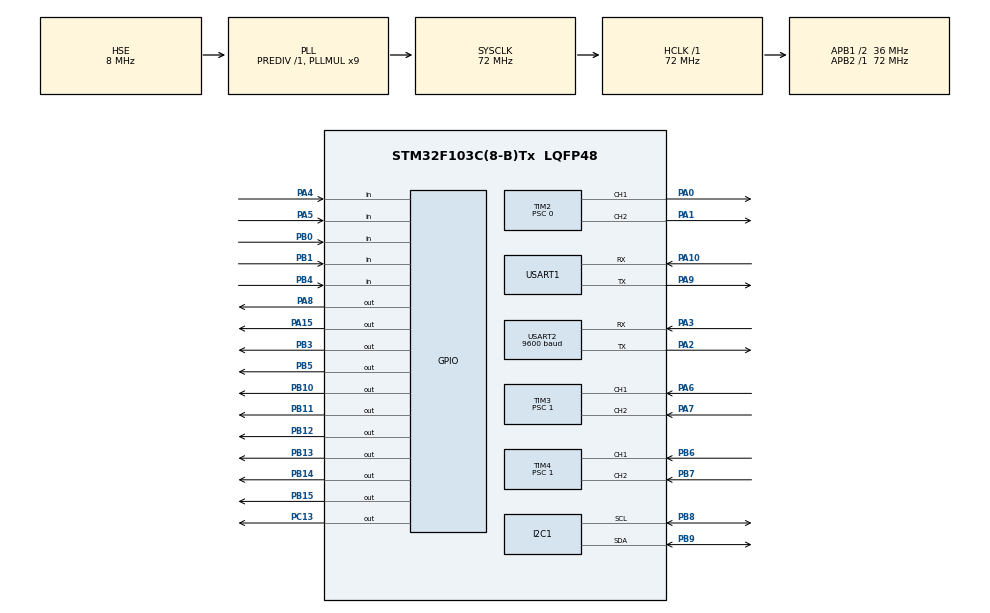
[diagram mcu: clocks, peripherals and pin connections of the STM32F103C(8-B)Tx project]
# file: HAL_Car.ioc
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Dma.Request0=USART1_TX
Dma.USART1_TX.0.Direction=DMA_MEMORY_TO_PERIPH
Dma.USART1_TX.0.Instance=DMA1_Channel4
Dma.USART1_TX.0.MemDataAlignment=DMA_MDATAALIGN_BYTE
Dma.USART1_TX.0.MemInc=DMA_MINC_ENABLE
Dma.USART1_TX.0.Mode=DMA_CIRCULAR
Dma.USART1_TX.0.PeriphDataAlignment=DMA_PDATAALIGN_BYTE
Dma.USART1_TX.0.PeriphInc=DMA_PINC_DISABLE
Dma.USART1_TX.0.Priority=DMA_PRIORITY_HIGH
Mcu.Family=STM32F1
Mcu.Name=STM32F103C(8-B)Tx
Mcu.Package=LQFP48
NVIC.DMA1_Channel4_IRQn=true\:1\:0\:true\:false\:true\:false\:true\:true
NVIC.PriorityGroup=NVIC_PRIORITYGROUP_2
NVIC.TIM1_UP_IRQn=true\:0\:0\:true\:false\:true\:true\:true\:true
NVIC.USART1_IRQn=true\:1\:0\:true\:false\:true\:false\:true\:true
NVIC.USART2_IRQn=true\:1\:0\:true\:false\:true\:true\:true\:true
PA0-WKUP.Signal=S_TIM2_CH1_ETR
PA1.Signal=S_TIM2_CH2
PA10.GPIO_PuPd=GPIO_PULLUP
PA10.Mode=Asynchronous
PA10.Signal=USART1_RX
PA13.Mode=Serial_Wire
PA13.Signal=SYS_JTMS-SWDIO
PA14.Mode=Serial_Wire
PA14.Signal=SYS_JTCK-SWCLK
PA15.GPIO_Speed=GPIO_SPEED_FREQ_HIGH
PA15.PinState=GPIO_PIN_SET
PA15.Signal=GPIO_Output
PA2.Mode=Asynchronous
PA2.Signal=USART2_TX
PA3.GPIO_PuPd=GPIO_PULLUP
PA3.Mode=Asynchronous
PA3.Signal=USART2_RX
PA4.GPIO_PuPd=GPIO_PULLUP
PA4.Signal=GPIO_Input
PA5.GPIO_PuPd=GPIO_PULLUP
PA5.Signal=GPIO_Input
PA6.GPIO_PuPd=GPIO_PULLUP
PA6.Signal=S_TIM3_CH1
PA7.GPIO_PuPd=GPIO_PULLUP
PA7.Signal=S_TIM3_CH2
PA8.GPIO_Speed=GPIO_SPEED_FREQ_HIGH
PA8.Signal=GPIO_Output
PA9.Mode=Asynchronous
PA9.Signal=USART1_TX
PB0.GPIO_PuPd=GPIO_PULLUP
PB0.Signal=GPIO_Input
PB1.GPIO_PuPd=GPIO_PULLUP
PB1.Signal=GPIO_Input
PB10.GPIO_ModeDefaultOutputPP=GPIO_MODE_OUTPUT_OD
PB10.GPIO_PuPd=GPIO_PULLUP
PB10.GPIO_Speed=GPIO_SPEED_FREQ_HIGH
PB10.PinState=GPIO_PIN_SET
PB10.Signal=GPIO_Output
PB11.GPIO_ModeDefaultOutputPP=GPIO_MODE_OUTPUT_OD
PB11.GPIO_PuPd=GPIO_PULLUP
PB11.GPIO_Speed=GPIO_SPEED_FREQ_HIGH
PB11.PinState=GPIO_PIN_SET
PB11.Signal=GPIO_Output
PB12.Signal=GPIO_Output
PB13.Signal=GPIO_Output
PB14.Signal=GPIO_Output
PB15.Signal=GPIO_Output
PB3.GPIO_Speed=GPIO_SPEED_FREQ_HIGH
PB3.Signal=GPIO_Output
PB4.GPIO_PuPd=GPIO_PULLUP
PB4.Signal=GPIO_Input
PB5.GPIO_Speed=GPIO_SPEED_FREQ_HIGH
PB5.Signal=GPIO_Output
PB6.GPIO_PuPd=GPIO_PULLUP
PB6.Signal=S_TIM4_CH1
PB7.GPIO_PuPd=GPIO_PULLUP
PB7.Signal=S_TIM4_CH2
PB8.Mode=I2C
PB8.Signal=I2C1_SCL
PB9.Mode=I2C
PB9.Signal=I2C1_SDA
PC13-TAMPER-RTC.GPIO_Speed=GPIO_SPEED_FREQ_MEDIUM
PC13-TAMPER-RTC.PinState=GPIO_PIN_SET
PC13-TAMPER-RTC.Signal=GPIO_Output
PD0-OSC_IN.Mode=HSE-External-Oscillator
PD0-OSC_IN.Signal=RCC_OSC_IN
PD1-OSC_OUT.Mode=HSE-External-Oscillator
PD1-OSC_OUT.Signal=RCC_OSC_OUT
ProjectManager.HeapSize=0x200
ProjectManager.StackSize=0x400
ProjectManager.TargetToolchain=MDK-ARM V5.32
RCC.AHBFreq_Value=72000000
RCC.APB1CLKDivider=RCC_HCLK_DIV2
RCC.APB1Freq_Value=36000000
RCC.APB1TimFreq_Value=72000000
RCC.APB2Freq_Value=72000000
RCC.APB2TimFreq_Value=72000000
RCC.HCLKFreq_Value=72000000
RCC.PLLMUL=RCC_PLL_MUL9
RCC.PLLSourceVirtual=RCC_PLLSOURCE_HSE
RCC.SYSCLKFreq_VALUE=72000000
RCC.SYSCLKSource=RCC_SYSCLKSOURCE_PLLCLK
RCC.USBFreq_Value=72000000
SH.S_TIM2_CH1_ETR.0=TIM2_CH1,PWM Generation1 CH1
SH.S_TIM2_CH2.0=TIM2_CH2,PWM Generation2 CH2
SH.S_TIM3_CH1.0=TIM3_CH1,Encoder_Interface
SH.S_TIM3_CH2.0=TIM3_CH2,Encoder_Interface
SH.S_TIM4_CH1.0=TIM4_CH1,Encoder_Interface
SH.S_TIM4_CH2.0=TIM4_CH2,Encoder_Interface
TIM1.AutoReloadPreload=TIM_AUTORELOAD_PRELOAD_ENABLE
TIM1.Period=999
TIM1.Prescaler=71
TIM2.AutoReloadPreload=TIM_AUTORELOAD_PRELOAD_ENABLE
TIM2.Channel-PWM\ Generation1\ CH1=TIM_CHANNEL_1
TIM2.Channel-PWM\ Generation2\ CH2=TIM_CHANNEL_2
TIM2.Period=1000-1
TIM2.Prescaler=0
TIM3.EncoderMode=TIM_ENCODERMODE_TI12
TIM3.IC1Filter=15
TIM3.IC2Filter=15
TIM3.IC2Polarity=TIM_ICPOLARITY_RISING
TIM3.Prescaler=1
TIM4.EncoderMode=TIM_ENCODERMODE_TI12
TIM4.IC1Filter=15
TIM4.IC2Filter=15
TIM4.IC2Polarity=TIM_ICPOLARITY_FALLING
TIM4.Prescaler=1
USART1.VirtualMode=VM_ASYNC
USART2.BaudRate=9600
USART2.VirtualMode=VM_ASYNC
VP_TIM1_VS_ClockSourceINT.Mode=Internal
VP_TIM2_VS_ClockSourceINT.Mode=Internal
board=custom

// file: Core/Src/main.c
/* USER CODE BEGIN Header */
/**
 ******************************************************************************
 * @file           : main.c
 * @brief          : Main program body
 ******************************************************************************
 * @attention
 *
 * Copyright (c) 2026 STMicroelectronics.
 * All rights reserved.
 *
 * This software is licensed under terms that can be found in the LICENSE file
 * in the root directory of this software component.
 * If no LICENSE file comes with this software, it is provided AS-IS.
 *
 ******************************************************************************
 */
/* USER CODE END Header */
#include "main.h"//halhalhal
#include "dma.h"
#include "i2c.h"
#include "tim.h"
#include "usart.h"
#include "gpio.h"

/* USER CODE BEGIN Includes */
/*-----------------------------------------------------------------User's Code*/
#include "Header.h"
/* USER CODE END Includes */

/* USER CODE BEGIN PV */
int16_t AX, AY, AZ, GX, GY, GZ;
uint16_t Num1;
uint16_t Num2;
int16_t speed = 0;
float Act_speedM1;
float Act_speedM2;
extern float target_speed;
uint16_t count;
uint16_t M1Encoder_Count;
uint16_t M2Encoder_Count;
/* USER CODE END PV */

void SystemClock_Config(void);

/* USER CODE BEGIN 0 */
void HAL_TIM_PeriodElapsedCallback(TIM_HandleTypeDef *htim)
{
  if (htim->Instance == TIM1)
  {
    /*---------------------------------------------------------------------按键扫描*/

    Key_Tick(); // 例如：1ms调用一次按键扫描

    /*-------------------------------------------------------------------编码器测速*/

    count++;
    if (count == 50)
    {

      count = 0;
    }

    /*---------------------------------------------------------------------互补滤波*/
//    static uint8_t count0 = 0;
//    count0++;
//    if (count0 == 10)
//    {
//      count0 = 0;
//    }

      /*----------------------------------------------------------------------PID计算*/
      static uint8_t count1 = 0;
      count1++;
      if (count1 == 50)
      {
        count1 = 0;
        MPU6050_GetData(&AX, &AY, &AZ, &GX, &GY, &GZ);
        Complementary_Filter();
        Act_speedM1 = Encoder_GetM1() / 44.0 / 0.05 / 9.27666;  // 轮速计测量
        Act_speedM2 = -Encoder_GetM2() / 44.0 / 0.05 / 9.27666; // 轮速计测量
//         Car_SpeedM1Driver();

//        Car_SpeedM2Driver();
        // 1ms计算一次太快了，慢一点好吧
         Car_UprightM1Driver();

        Car_UprightM2Driver();
      }
  }
}
/* USER CODE END 0 */

int main(void)
{

  /* MCU Configuration--------------------------------------------------------*/

  /* Reset of all peripherals, Initializes the Flash interface and the Systick. */
  HAL_Init();

  /* Configure the system clock */
  SystemClock_Config();

  /* Initialize all configured peripherals */
  MX_GPIO_Init();
  MX_DMA_Init();
  MX_I2C1_Init();
  MX_USART1_UART_Init();
  MX_USART2_UART_Init();
  MX_TIM1_Init();
  MX_TIM2_Init();
  MX_TIM3_Init();
  MX_TIM4_Init();
  /* USER CODE BEGIN 2 */
  HAL_TIM_Base_Start_IT(&htim1);                  // 启动TIM1中断
  HAL_TIM_Base_Start(&htim2);                     // 启动TIM2基本计时器
  HAL_TIM_Encoder_Start(&htim3, TIM_CHANNEL_ALL); // 启动TIM3编码器
  HAL_TIM_Encoder_Start(&htim4, TIM_CHANNEL_ALL); // 启动TIM4编码器
  OLED_GPIO_ForceInit();
  OLED_Init();
  BLE_Serial_Init();
  MPU6050_Init();
  Motor_PWMStart();
  Encoder_Init();
  BLE_Serial_Init();
  /* USER CODE END 2 */

  /* Infinite loop */
  /* USER CODE BEGIN WHILE */

  while (1)
  {
    /*
      目前由于MPU6050_GetData()函数的代码效率未优化，效率低，因此暂时将此函数置于while循环中，勿在中断中调用，勿在其他函数中使用
    */
    // MPU6050_GetData(&AX, &AY, &AZ, &GX, &GY, &GZ);——————已完善！！！
    /*
      放在中断，会卡死程序，猜测是在1ms中断执行该函数时，时间超过1ms导致又发生一次定时中断，导致卡死。解决方法（个人猜测）：①在进中断时，先清除中断标志位(HAL库自主完成了)②优化MOU6050读取速率(连续读取，减少延时)————————————
      ————————————————————yes
      豆包有话说：
                    准确识别了 “中断里执行耗时函数导致卡死” 的现象
                    理解了中断重入 / 嵌套的风险
                    给出了 “移出中断” 的正确方向
                    可以优化的点：
                    “先清中断标志位” 是治标，移出中断上下文才是治本
                    可以进一步优化 MPU6050 读取效率，让系统更流畅
    */

    ///////////////////////////做一些安全保护措施////////////////////////////////////////////
//     Motor_Protection();
    // 改一下电机PWM配置
    //写个模块text模块
    //不烧录并复位是为了防止程序一下载电机就转造成破坏
    OLED_ShowPIDOut();

//    BlueSerial_DebugSpeedPID();
    BlueSerial_DebugPID();

        BLE_Serial_Printf("[plot,%f,%f,%f]", Car_SpeedM1PID.Target, Car_SpeedM1PID.Actual, Car_SpeedM2PID.Actual);
    // BLE_Serial_Printf("[plot,%f,%f,%f]", Car_UprightM1PID.Target, Car_UprightM1PID.Actual, Car_UprightM2PID.Actual);

    /* USER CODE END WHILE */

  }
}

void SystemClock_Config(void)
{
  RCC_OscInitTypeDef RCC_OscInitStruct = {0};
  RCC_ClkInitTypeDef RCC_ClkInitStruct = {0};

  /** Initializes the RCC Oscillators according to the specified parameters
  * in the RCC_OscInitTypeDef structure.
  */
  RCC_OscInitStruct.OscillatorType = RCC_OSCILLATORTYPE_HSE;
  RCC_OscInitStruct.HSEState = RCC_HSE_ON;
  RCC_OscInitStruct.HSEPredivValue = RCC_HSE_PREDIV_DIV1;
  RCC_OscInitStruct.HSIState = RCC_HSI_ON;
  RCC_OscInitStruct.PLL.PLLState = RCC_PLL_ON;
  RCC_OscInitStruct.PLL.PLLSource = RCC_PLLSOURCE_HSE;
  RCC_OscInitStruct.PLL.PLLMUL = RCC_PLL_MUL9;
  if (HAL_RCC_OscConfig(&RCC_OscInitStruct) != HAL_OK)
  {
    Error_Handler();
  }

  /** Initializes the CPU, AHB and APB buses clocks
  */
  RCC_ClkInitStruct.ClockType = RCC_CLOCKTYPE_HCLK|RCC_CLOCKTYPE_SYSCLK
                              |RCC_CLOCKTYPE_PCLK1|RCC_CLOCKTYPE_PCLK2;
  RCC_ClkInitStruct.SYSCLKSource = RCC_SYSCLKSOURCE_PLLCLK;
  RCC_ClkInitStruct.AHBCLKDivider = RCC_SYSCLK_DIV1;
  RCC_ClkInitStruct.APB1CLKDivider = RCC_HCLK_DIV2;
  RCC_ClkInitStruct.APB2CLKDivider = RCC_HCLK_DIV1;

  if (HAL_RCC_ClockConfig(&RCC_ClkInitStruct, FLASH_LATENCY_2) != HAL_OK)
  {
    Error_Handler();
  }
}

void Error_Handler(void)
{
  __disable_irq();
  while (1)
  {
  }
}
